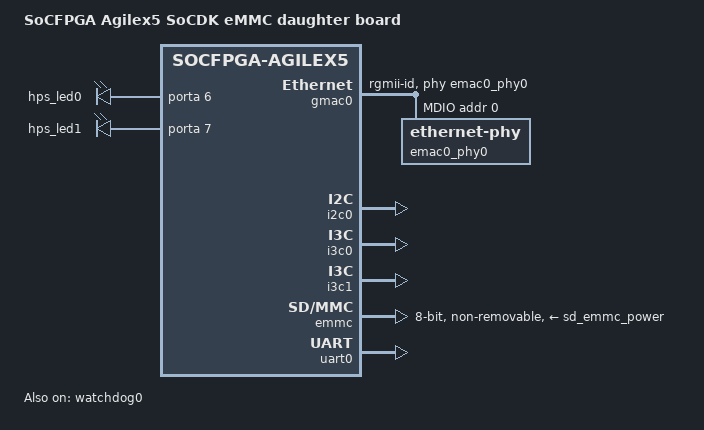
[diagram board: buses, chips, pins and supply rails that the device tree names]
// SPDX-License-Identifier:     GPL-2.0
/*
 * Copyright (C) 2026, Altera Corporation
 */
#include "socfpga_agilex5.dtsi"

/ {
	model = "SoCFPGA Agilex5 SoCDK eMMC daughter board";
	compatible = "intel,socfpga-agilex5-socdk-emmc", "intel,socfpga-agilex5";

	aliases {
		serial0 = &uart0;
		ethernet0 = &gmac0;
	};

	chosen {
		stdout-path = "serial0:115200n8";
	};

	leds {
		compatible = "gpio-leds";
		led0 {
			label = "hps_led0";
			gpios = <&porta 6 GPIO_ACTIVE_HIGH>;
		};

		led1 {
			label = "hps_led1";
			gpios = <&porta 7 GPIO_ACTIVE_HIGH>;
		};
	};

	memory@80000000 {
		device_type = "memory";
		/* We expect the bootloader to fill in the reg */
		reg = <0x0 0x80000000 0x0 0x0>;
	};
};

&gmac0 {
	status = "okay";
	phy-mode = "rgmii-id";
	phy-handle = <&emac0_phy0>;
	max-frame-size = <9000>;

	mdio0 {
		#address-cells = <1>;
		#size-cells = <0>;
		compatible = "snps,dwmac-mdio";

		emac0_phy0: ethernet-phy@0 {
			reg = <0>;
		};
	};
};

&gpio0 {
	status = "okay";
};

&gpio1 {
	status = "okay";
};

&i2c0 {
	status = "okay";
};

&i3c0 {
	status = "okay";
};

&i3c1 {
	status = "okay";
};

&emmc {
	status = "okay";

	no-sd;
	no-sdio;
	no-1-8-v;
	disable-wp;
	non-removable;
	cap-mmc-highspeed;
	mmc-hs400-1_8v;
	mmc-hs200-1_8v;
	bus-width = <8>;
	vmmc-supply = <&sd_emmc_power>;
	vqmmc-supply = <&emmc_io_1v8_reg>;
	max-frequency = <200000000>;
	/*
	 * SDHCI capability overrides:
	 *  - caps_mask[0] 0x0000ff00 / caps[0] 0x0000c800:
	 *      Override SDHCI_CLOCK_BASE_MASK to 0xc8 (200 MHz).
	 */
	sdhci-caps = <0x00000000 0x0000c800>;
	sdhci-caps-mask = <0x00000000 0x0000ff00>;
};

&osc1 {
	clock-frequency = <25000000>;
};

&uart0 {
	status = "okay";
};

&watchdog0 {
	status = "okay";
};
